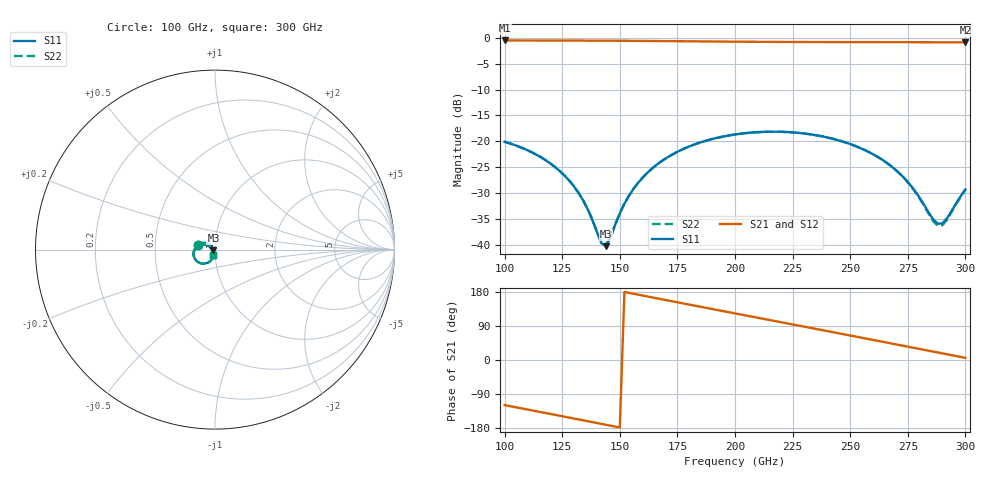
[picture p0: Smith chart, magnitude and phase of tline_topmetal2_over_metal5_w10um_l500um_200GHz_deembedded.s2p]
! Created with skrf 2.2.0 (http://scikit-rf.org).
# GHz S DB R 50.0
! Port[1] = P1
! Port[2] = P2
!freq dBS11 angS11 dBS21 angS21 dBS12 angS12 dBS22 angS22
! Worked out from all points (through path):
!   101 points, 100 GHz to 300 GHz, reference 50 ohm
!   highest |S21| = -0.50 dB at 100 GHz (marker M1); lowest = -0.9 dB at 300 GHz (marker M2)
!   group delay of S21, straight-line fit = 3.26 ps
!   lowest |S11| = -40.3 dB at 144 GHz (marker M3), VSWR 1.02, Z = 49.1 - j0.404 ohm
!   |S11| at or under -10 dB: start of sweep to end of sweep
!   |S22| runs from -40.1 to -18.2 dB; largest |S21 - S12| = 1.1e-14
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100  -20.11 164.3  -0.50 -119.0  -0.50 -119.0  -20.10 164.5
110  -21.76 153.5  -0.51 -130.7  -0.51 -130.7  -21.75 153.8
120  -24.35 144.0  -0.52 -142.5  -0.52 -142.5  -24.33 144.3
128  -27.60 138.6  -0.53 -152.0  -0.53 -152.0  -27.57 139.1
134  -31.39 139.0  -0.53 -159.1  -0.53 -159.1  -31.35 139.7
142  -39.73 176.5  -0.54 -168.6  -0.54 -168.6  -39.50 177.0
144  -40.30 -154.8  -0.55 -171.0  -0.55 -171.0  -40.05 -155.2
150  -33.97 -109.2  -0.56 -178.1  -0.56 -178.1  -33.92 -109.8
154  -30.52 -104.2  -0.57 177.1  -0.57 177.1  -30.50 -104.5
160  -26.99 -104.9  -0.59 170.0  -0.59 170.0  -26.98 -105.1
168  -23.90 -110.5  -0.62 160.5  -0.62 160.5  -23.90 -110.6
182  -20.69 -123.9  -0.67 144.0  -0.67 144.0  -20.69 -123.9
200  -18.69 -142.6  -0.74 123.0  -0.74 123.0  -18.69 -142.5
218  -18.16 -161.4  -0.78 102.0  -0.78 102.0  -18.16 -161.3
234  -18.75 -177.8  -0.81 83.3  -0.81 83.3  -18.75 -177.7
252  -20.88 164.7  -0.82 62.3  -0.82 62.3  -20.88 164.7
268  -24.90 153.0  -0.83 43.5  -0.83 43.5  -24.92 152.8
276  -28.41 152.5  -0.84 34.0  -0.84 34.0  -28.47 152.0
288  -35.97 -163.9  -0.85 19.8  -0.85 19.8  -36.34 -163.7
290  -35.89 -146.4  -0.86 17.5  -0.86 17.5  -36.25 -145.3
292  -34.92 -131.2  -0.86 15.1  -0.86 15.1  -35.20 -129.5
300  -29.32 -106.3  -0.88 5.6  -0.88 5.6  -29.38 -104.7
